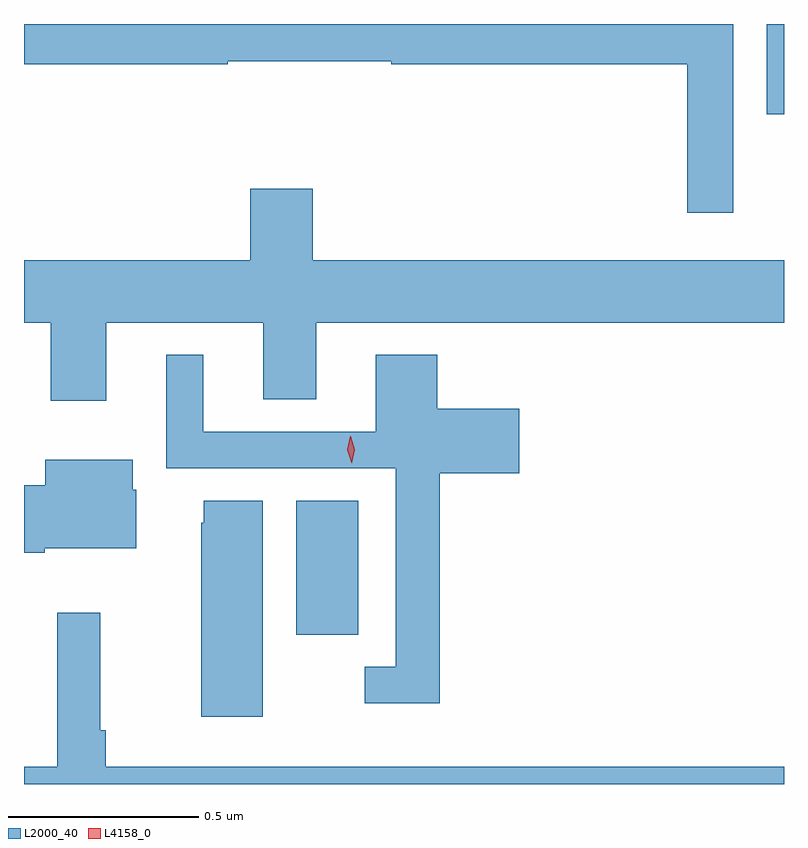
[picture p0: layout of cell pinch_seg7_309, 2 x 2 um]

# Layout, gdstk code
import gdstk
lib = gdstk.Library(unit=1e-6, precision=1e-09)
def R(c, l, rs):  # rectangles x0, y0, x1, y1
    for r in rs: c.add(gdstk.rectangle(r[:2], r[2:], *l))
def P(c, l, *ps):  # polygons
    for p in ps: c.add(gdstk.Polygon(p, *l))
L2000_40 = (2000, 40)
L4158_0 = (4158, 0)

pinch_seg7_309 = lib.new_cell('pinch_seg7_309')
R(pinch_seg7_309, L2000_40, [(512.78,1061.067,512.944,1061.42), (514.019,1062.437,514.064,1062.674)])
P(pinch_seg7_309, L2000_40, [(513.931,1062.674),(512.064,1062.674),(512.064,1062.568),(512.6,1062.568),(512.6,1062.576),(513.031,1062.576),(513.031,1062.568),(513.81,1062.568),(513.81,1062.177),(513.931,1062.177)],
  [(512.281,1061.888),(512.693,1061.888),(512.693,1061.686),(512.833,1061.686),(512.833,1061.888),(514.064,1061.888),(514.064,1062.052),(512.824,1062.052),(512.824,1062.241),(512.66,1062.241),(512.66,1062.052),(512.064,1062.052),(512.064,1061.888),(512.134,1061.888),(512.134,1061.682),(512.281,1061.682)],
  [(513.158,1061.492),(513.367,1061.492),(513.367,1061.662),(513.152,1061.662),(513.152,1061.803),(512.99,1061.803),(512.99,1061.601),(512.536,1061.601),(512.536,1061.803),(512.438,1061.803),(512.438,1061.505),(513.042,1061.505),(513.042,1060.983),(512.961,1060.983),(512.961,1060.886),(513.158,1060.886)],
  [(512.119,1061.294),(512.359,1061.294),(512.359,1061.448),(512.35,1061.448),(512.35,1061.527),(512.12,1061.527),(512.12,1061.46),(512.064,1061.46),(512.064,1061.282),(512.119,1061.282)],
  [(512.692,1061.42),(512.537,1061.42),(512.537,1061.361),(512.531,1061.361),(512.531,1060.851),(512.692,1060.851)],
  [(514.064,1060.72),(512.279,1060.72),(512.279,1060.816),(512.264,1060.816),(512.264,1061.125),(512.151,1061.125),(512.151,1060.72),(512.064,1060.72),(512.064,1060.674),(514.064,1060.674)])
P(pinch_seg7_309, L4158_0, [(512.927,1061.518),(512.927,1061.518),(512.915,1061.553),(512.923,1061.589),(512.924,1061.589),(512.924,1061.589),(512.935,1061.554),(512.927,1061.518)])

lib.write_gds('pinch_seg7_309.gds')
